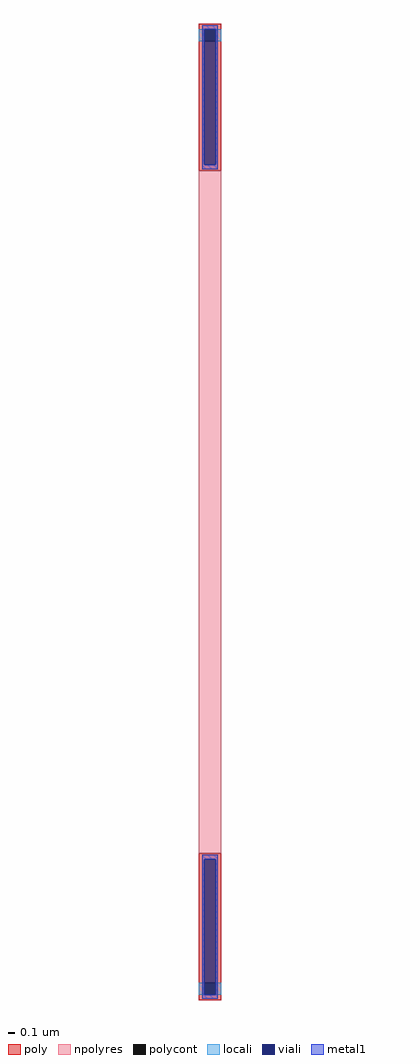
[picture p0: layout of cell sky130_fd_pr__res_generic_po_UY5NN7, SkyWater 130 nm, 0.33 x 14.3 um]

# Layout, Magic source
magic
tech sky130A
magscale 1 2
<< poly >>
rect -33 1414 33 1430
rect -33 1380 -17 1414
rect 17 1380 33 1414
rect -33 1000 33 1380
rect -33 -1380 33 -1000
rect -33 -1414 -17 -1380
rect 17 -1414 33 -1380
rect -33 -1430 33 -1414
<< polycont >>
rect -17 1380 17 1414
rect -17 -1414 17 -1380
<< npolyres >>
rect -33 -1000 33 1000
<< locali >>
rect -33 1380 -17 1414
rect 17 1380 33 1414
rect -33 -1414 -17 -1380
rect 17 -1414 33 -1380
<< viali >>
rect -17 1380 17 1414
rect -17 1017 17 1380
rect -17 -1380 17 -1017
rect -17 -1414 17 -1380
<< metal1 >>
rect -23 1414 23 1426
rect -23 1017 -17 1414
rect 17 1017 23 1414
rect -23 1005 23 1017
rect -23 -1017 23 -1005
rect -23 -1414 -17 -1017
rect 17 -1414 23 -1017
rect -23 -1426 23 -1414
<< properties >>
string gencell sky130_fd_pr__res_generic_po
string library sky130
string parameters w 0.330 l 10 m 1 nx 1 wmin 0.330 lmin 1.650 rho 48.2 val 1.46k dummy 0 dw 0.0 term 0.0 sterm 0.0 caplen 0.4 snake 0 guard 0 glc 1 grc 1 gtc 1 gbc 1 roverlap 0 endcov 100 full_metal 1 hv_guard 0 n_guard 0 vias 1 viagb 0 viagt 0 viagl 0 viagr 0
<< end >>
